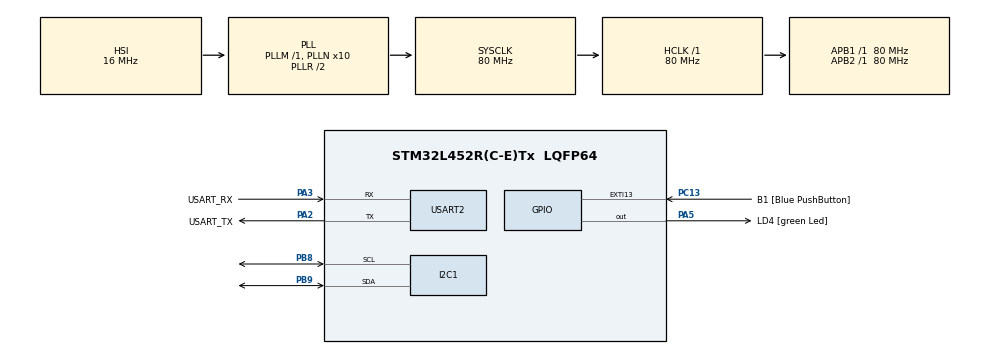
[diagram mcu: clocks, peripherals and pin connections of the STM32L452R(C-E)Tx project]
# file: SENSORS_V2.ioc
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Mcu.Family=STM32L4
Mcu.Name=STM32L452R(C-E)Tx
Mcu.Package=LQFP64
NVIC.PriorityGroup=NVIC_PRIORITYGROUP_4
PA13\ (JTMS/SWDIO).GPIO_Label=TMS
PA13\ (JTMS/SWDIO).Mode=Serial_Wire
PA13\ (JTMS/SWDIO).Signal=SYS_JTMS-SWDIO
PA14\ (JTCK/SWCLK).GPIO_Label=TCK
PA14\ (JTCK/SWCLK).Mode=Serial_Wire
PA14\ (JTCK/SWCLK).Signal=SYS_JTCK-SWCLK
PA2.GPIO_Label=USART_TX
PA2.GPIO_Mode=GPIO_MODE_AF_PP
PA2.GPIO_PuPd=GPIO_NOPULL
PA2.GPIO_Speed=GPIO_SPEED_FREQ_VERY_HIGH
PA2.Mode=Asynchronous
PA2.Signal=USART2_TX
PA3.GPIO_Label=USART_RX
PA3.GPIO_Mode=GPIO_MODE_AF_PP
PA3.GPIO_PuPd=GPIO_NOPULL
PA3.GPIO_Speed=GPIO_SPEED_FREQ_VERY_HIGH
PA3.Mode=Asynchronous
PA3.Signal=USART2_RX
PA5.GPIO_Label=LD4 [green Led]
PA5.GPIO_ModeDefaultOutputPP=GPIO_MODE_OUTPUT_PP
PA5.GPIO_PuPd=GPIO_NOPULL
PA5.GPIO_Speed=GPIO_SPEED_FREQ_LOW
PA5.Signal=GPIO_Output
PB3\ (JTDO/TRACESWO).GPIO_Label=SWO
PB3\ (JTDO/TRACESWO).Signal=SYS_JTDO-SWO
PB8.Mode=I2C
PB8.Signal=I2C1_SCL
PB9.Mode=I2C
PB9.Signal=I2C1_SDA
PC13.GPIO_Label=B1 [Blue PushButton]
PC13.GPIO_ModeDefaultEXTI=GPIO_MODE_IT_FALLING
PC13.GPIO_PuPd=GPIO_NOPULL
PC13.Signal=GPXTI13
PC14-OSC32_IN\ (PC14).Mode=LSE-External-Oscillator
PC14-OSC32_IN\ (PC14).Signal=RCC_OSC32_IN
PC15-OSC32_OUT\ (PC15).Mode=LSE-External-Oscillator
PC15-OSC32_OUT\ (PC15).Signal=RCC_OSC32_OUT
PH0-OSC_IN\ (PH0).Signal=RCC_OSC_IN
PH1-OSC_OUT\ (PH1).Signal=RCC_OSC_OUT
ProjectManager.HeapSize=0x200
ProjectManager.StackSize=0x400
ProjectManager.TargetToolchain=TrueSTUDIO
RCC.ADCFreq_Value=64000000
RCC.AHBFreq_Value=80000000
RCC.APB1Freq_Value=80000000
RCC.APB1TimFreq_Value=80000000
RCC.APB2Freq_Value=80000000
RCC.APB2TimFreq_Value=80000000
RCC.CortexFreq_Value=80000000
RCC.HCLKFreq_Value=80000000
RCC.HSE_VALUE=8000000
RCC.HSI48_VALUE=48000000
RCC.HSI_VALUE=16000000
RCC.MSI_VALUE=4000000
RCC.PLLN=10
RCC.PLLSourceVirtual=RCC_PLLSOURCE_HSI
RCC.PREFETCH_ENABLE=1
RCC.SYSCLKFreq_VALUE=80000000
RCC.SYSCLKSource=RCC_SYSCLKSOURCE_PLLCLK
RCC.USBFreq_Value=64000000
RCC.VCOOutputFreq_Value=160000000
USART2.VirtualMode-Asynchronous=VM_ASYNC
board=NUCLEO-L452RE

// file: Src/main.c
/**
  ******************************************************************************
  * @file           : main.c
  * @brief          : Main program body
  ******************************************************************************
  ** This notice applies to any and all portions of this file
  * that are not between comment pairs USER CODE BEGIN and
  * USER CODE END. Other portions of this file, whether
  * inserted by the user or by software development tools
  * are owned by their respective copyright owners.
  *
  * COPYRIGHT(c) 2019 STMicroelectronics
  *
  * Redistribution and use in source and binary forms, with or without modification,
  * are permitted provided that the following conditions are met:
  *   1. Redistributions of source code must retain the above copyright notice,
  *      this list of conditions and the following disclaimer.
  *   2. Redistributions in binary form must reproduce the above copyright notice,
  *      this list of conditions and the following disclaimer in the documentation
  *      and/or other materials provided with the distribution.
  *   3. Neither the name of STMicroelectronics nor the names of its contributors
  *      may be used to endorse or promote products derived from this software
  *      without specific prior written permission.
  *
  * THIS SOFTWARE IS PROVIDED BY THE COPYRIGHT HOLDERS AND CONTRIBUTORS "AS IS"
  * AND ANY EXPRESS OR IMPLIED WARRANTIES, INCLUDING, BUT NOT LIMITED TO, THE
  * IMPLIED WARRANTIES OF MERCHANTABILITY AND FITNESS FOR A PARTICULAR PURPOSE ARE
  * DISCLAIMED. IN NO EVENT SHALL THE COPYRIGHT HOLDER OR CONTRIBUTORS BE LIABLE
  * FOR ANY DIRECT, INDIRECT, INCIDENTAL, SPECIAL, EXEMPLARY, OR CONSEQUENTIAL
  * DAMAGES (INCLUDING, BUT NOT LIMITED TO, PROCUREMENT OF SUBSTITUTE GOODS OR
  * SERVICES; LOSS OF USE, DATA, OR PROFITS; OR BUSINESS INTERRUPTION) HOWEVER
  * CAUSED AND ON ANY THEORY OF LIABILITY, WHETHER IN CONTRACT, STRICT LIABILITY,
  * OR TORT (INCLUDING NEGLIGENCE OR OTHERWISE) ARISING IN ANY WAY OUT OF THE USE
  * OF THIS SOFTWARE, EVEN IF ADVISED OF THE POSSIBILITY OF SUCH DAMAGE.
  *
  ******************************************************************************
  */
#include "main.h"
#include "stm32l4xx_hal.h"
#include "i2c.h"
#include "usart.h"
#include "gpio.h"

/* USER CODE BEGIN PV */
/* Private variables ---------------------------------------------------------*/
/*----------------------------------------------------------------------------*///TEMP & HUM
//TEMPERATURE & HUMIDITY SENSOR

//Address of the Temperature & Humidity sensor (HTS221)
uint8_t addr_sensor[1]={0xBE};

/*----------------------------------------------------------------------------*///TEMPERATURE
//TEMPERATURE
//Calibration register 0
uint8_t addr_T0_degC_x8[1]={0x32};
//Value of T0_degC_x8 register
uint8_t T0_degC_x8[1]={0x00};
//Calibration register 1
uint8_t addr_T1_degC_x8[1]={0x33};
//Value of T1_degC_x8 register
uint8_t T1_degC_x8[1]={0x00};
//Register of MSB (most significant bit) of T1_degC and and T0_degC to compute them
uint8_t addr_MSB[1]={0x35};
//Reference to the MSB
uint8_t MSB[1]={0x00};
//Values of T0_degC_x8 and T1_degC_x8 in 16 bits
int16_t T0_degC_x8_u16[1]={0x00};;
int16_t T1_degC_x8_u16[1]={0x00};;
//T0_DegC = T0_degC_x8_u16/8
int16_t T0_DegC[1]={0x00};
//T1_DegC = T1_degC_x8_u16/8
int16_t T1_DegC[1]={0x00};

//T0_OUT registers : T0_OUT = T0_OUT_H followed by T0_OUT_L
uint8_t addr_T0_OUT_L[1]={0x3C};
uint8_t T0_OUT_L[1]={0x00};
uint8_t addr_T0_OUT_H[1]={0x3D};
uint8_t T0_OUT_H[1]={0x00};
int16_t T0_OUT[1]={0x00};
//T1_OUT registers : T1_OUT = T1_OUT_H followed by T1_OUT_L
uint8_t addr_T1_OUT_L[1]={0x3E};
uint8_t T1_OUT_L[1]={0x00};
uint8_t addr_T1_OUT_H[1]={0x3F};
uint8_t T1_OUT_H[1]={0x00};
int16_t T1_OUT[1]={0x00};
//T_OUT registers : T_OUT = T_OUT_H followed by T_OUT_L
uint8_t addr_T_OUT_L[1]={0x2A};
uint8_t T_OUT_L[1]={0x00};
uint8_t addr_T_OUT_H[1]={0x2B};
uint8_t T_OUT_H[1]={0x00};
int16_t T_OUT[1]={0x00};

//Buffer used to define the final value of the temperature
int32_t temp32;
//Final value of the temperature
int16_t temp_value;

/*----------------------------------------------------------------------------*///HUMIDITY
//HUMIDITY
//Registers for H0_rH_x2 and H1_rH_x2
uint8_t H0_rH_x2[1]={0x00};
uint8_t addr_H0_rH_x2[1]={0x30};
uint8_t H1_rH_x2[1]={0x00};
uint8_t addr_H1_rH_x2[1]={0x31};
//H0_rH = H0_rH_x2/2
int16_t H0_rH;
//H1_rH = H1_rH_x2/2
int16_t H1_rH;

//H0_T0_OUT registers : H0_T0_OUT = H0_T0_OUT_H followed by H0_T0_OUT_L
uint8_t H0_T0_OUT_L[1]={0x00};
uint8_t addr_H0_T0_OUT_L[1]={0x36};
uint8_t H0_T0_OUT_H[1]={0x00};
uint8_t addr_H0_T0_OUT_H[1]={0x37};
int16_t H0_T0_OUT;
//H1_T0_OUT registers : H1_T0_OUT = H1_T0_OUT_H followed by H1_T0_OUT_L
uint8_t H1_T0_OUT_L[1]={0x00};
uint8_t addr_H1_T0_OUT_L[1]={0x3A};
uint8_t H1_T0_OUT_H[1]={0x00};
uint8_t addr_H1_T0_OUT_H[1]={0x3B};
int16_t H1_T0_OUT;
//H_T0_OUT registers : H_T0_OUT = H_T0_OUT_H followed by H_T0_OUT_L
uint8_t H_T0_OUT_L[1]={0x00};
uint8_t addr_H_T0_OUT_L[1]={0x28};
uint8_t H_T0_OUT_H[1]={0x00};
uint8_t addr_H_T0_OUT_H[1]={0x29};
int16_t H_T0_OUT;

//Buffer used to define the final value of the humidity
int32_t hum;
//Final value of the humidity
int16_t value_hum;

/*----------------------------------------------------------------------------*///PRESSURE

//PRESSURE SENSOR
//Address of the pressure sensor (LPS22HB)
uint8_t addr_sensor_press[1]={0xBA};
//Registers where the value REF_P of the pressure measured is set
//Kind of offset used to give the value of the final pressure
//Used by default (a bit in CTRL_REG2 is normally set to 1)
uint8_t addr_REF_P_H[1]={0x17};
uint8_t REF_P_H[1]={0x00};
uint8_t addr_REF_P_L[1]={0x16};
uint8_t REF_P_L[1]={0x00};
uint8_t addr_REF_P_XL[1]={0x15};
uint8_t REF_P_XL[1]={0x00};
//FINAL value = REF_P = REP_P_H/REF_P_L/REF_P_XL in this order !!
int32_t REF_P;
//Registers where the value P_OUT of the pressure measured is set
//Kind of offset used to give the value of the final pressure
uint8_t addr_PRESS_OUT_H[1]={0x2A};
uint8_t P_OUT_H[1]={0x00};
uint8_t addr_PRESS_OUT_L[1]={0x29};
uint8_t P_OUT_L[1]={0x00};
uint8_t addr_PRESS_OUT_XL[1]={0x28};
uint8_t P_OUT_XL[1]={0x00};
//FINAL value = P_OUT = P_OUT_H/P_OUT_L/P_OUT_XL in this order !!
int32_t P_OUT;
//In default mode where REF_P is used, press32 = P_OUT + REF_P
int32_t press32;
//value_press_HPa = press_32/4096 (in HPa)
int16_t value_press_HPa;
//value_press_bar = value_press_Hpa/1000 (in bar)
float value_press_bar;
/* USER CODE END PV */

void SystemClock_Config(void);

/* USER CODE BEGIN PFP */
/* Private function prototypes -----------------------------------------------*/
void get_register(uint8_t addr_sensor[], uint8_t addr_register[], uint8_t data_register[]);
void get_temp(void);
void get_hum(void);
void get_press(void);
/* USER CODE END PFP */

int main(void)
{

  /* MCU Configuration----------------------------------------------------------*/

  /* Reset of all peripherals, Initializes the Flash interface and the Systick. */
  HAL_Init();

  /* Configure the system clock */
  SystemClock_Config();

  /* Initialize all configured peripherals */
  MX_GPIO_Init();
  MX_USART2_UART_Init();
  MX_I2C1_Init();

  /* Infinite loop */
  /* USER CODE BEGIN WHILE */
  while (1)
  {
	  get_temp();

	  get_hum();

	  get_press();
  /* USER CODE END WHILE */

  }

}

void SystemClock_Config(void)
{

  RCC_OscInitTypeDef RCC_OscInitStruct;
  RCC_ClkInitTypeDef RCC_ClkInitStruct;
  RCC_PeriphCLKInitTypeDef PeriphClkInit;

    /**Initializes the CPU, AHB and APB busses clocks
    */
  RCC_OscInitStruct.OscillatorType = RCC_OSCILLATORTYPE_HSI;
  RCC_OscInitStruct.HSIState = RCC_HSI_ON;
  RCC_OscInitStruct.HSICalibrationValue = 16;
  RCC_OscInitStruct.PLL.PLLState = RCC_PLL_ON;
  RCC_OscInitStruct.PLL.PLLSource = RCC_PLLSOURCE_HSI;
  RCC_OscInitStruct.PLL.PLLM = 1;
  RCC_OscInitStruct.PLL.PLLN = 10;
  RCC_OscInitStruct.PLL.PLLP = RCC_PLLP_DIV7;
  RCC_OscInitStruct.PLL.PLLQ = RCC_PLLQ_DIV2;
  RCC_OscInitStruct.PLL.PLLR = RCC_PLLR_DIV2;
  if (HAL_RCC_OscConfig(&RCC_OscInitStruct) != HAL_OK)
  {
    _Error_Handler(__FILE__, __LINE__);
  }

    /**Initializes the CPU, AHB and APB busses clocks
    */
  RCC_ClkInitStruct.ClockType = RCC_CLOCKTYPE_HCLK|RCC_CLOCKTYPE_SYSCLK
                              |RCC_CLOCKTYPE_PCLK1|RCC_CLOCKTYPE_PCLK2;
  RCC_ClkInitStruct.SYSCLKSource = RCC_SYSCLKSOURCE_PLLCLK;
  RCC_ClkInitStruct.AHBCLKDivider = RCC_SYSCLK_DIV1;
  RCC_ClkInitStruct.APB1CLKDivider = RCC_HCLK_DIV1;
  RCC_ClkInitStruct.APB2CLKDivider = RCC_HCLK_DIV1;

  if (HAL_RCC_ClockConfig(&RCC_ClkInitStruct, FLASH_LATENCY_4) != HAL_OK)
  {
    _Error_Handler(__FILE__, __LINE__);
  }

  PeriphClkInit.PeriphClockSelection = RCC_PERIPHCLK_USART2|RCC_PERIPHCLK_I2C1;
  PeriphClkInit.Usart2ClockSelection = RCC_USART2CLKSOURCE_PCLK1;
  PeriphClkInit.I2c1ClockSelection = RCC_I2C1CLKSOURCE_PCLK1;
  if (HAL_RCCEx_PeriphCLKConfig(&PeriphClkInit) != HAL_OK)
  {
    _Error_Handler(__FILE__, __LINE__);
  }

    /**Configure the main internal regulator output voltage
    */
  if (HAL_PWREx_ControlVoltageScaling(PWR_REGULATOR_VOLTAGE_SCALE1) != HAL_OK)
  {
    _Error_Handler(__FILE__, __LINE__);
  }

    /**Configure the Systick interrupt time
    */
  HAL_SYSTICK_Config(HAL_RCC_GetHCLKFreq()/1000);

    /**Configure the Systick
    */
  HAL_SYSTICK_CLKSourceConfig(SYSTICK_CLKSOURCE_HCLK);

  /* SysTick_IRQn interrupt configuration */
  HAL_NVIC_SetPriority(SysTick_IRQn, 0, 0);
}

/* USER CODE BEGIN 4 */
void get_register(uint8_t addr_sensor[], uint8_t addr_register[], uint8_t data_register[]){

	  while(HAL_I2C_Master_Transmit(&hi2c1, addr_sensor[0], addr_register, 1, HAL_TIMEOUT) != HAL_OK);
	  while(HAL_I2C_Master_Receive(&hi2c1, addr_sensor[0], data_register, 1, HAL_TIMEOUT) != HAL_OK);
	  HAL_Delay(100);
}

void get_temp(void){
	//Read register T0_degC_x8
	get_register(addr_sensor, addr_T0_degC_x8, T0_degC_x8);
	//Read register T1_degC_x8
	get_register(addr_sensor, addr_T1_degC_x8, T1_degC_x8);
	//Read register MSB
	get_register(addr_sensor, addr_MSB, MSB);
	//Convert T0_degC_x8 to 16-bit word => T0_degC_x8_u16
	//MSB put on front to conserve the sign of the temperature (0 = + / 1 = -)
	T0_degC_x8_u16[0] = (((uint16_t)(MSB[0] & 0x03)) << 8) + ((uint16_t)T0_degC_x8[0]);
	//Convert T1_degC_x8 to 16-bit word => T1_degC_x8_u16
	//MSB put on front to conserve the sign of the temperature (0 = + / 1 = -)
	T1_degC_x8_u16[0] = (((uint16_t)(MSB[0] & 0x0C)) << 6) + ((uint16_t)T1_degC_x8[0]);
	//T0_DegC = T0_degC_u16/8 (equivalent)
	T0_DegC[0] = T0_degC_x8_u16[0] >> 3;
	//T1_DegC = T1_degC_u16/8 (equivalent)
	T1_DegC[0] = T1_degC_x8_u16[0] >> 3;

	// Read register T0_OUT_L
	get_register(addr_sensor, addr_T0_OUT_L, T0_OUT_L);
	// Read register T0_OUT_H
	get_register(addr_sensor, addr_T0_OUT_H, T0_OUT_H);
	//Concatenation of 2 registers to get T0_OUT => T0_OUT = T0_OUT_H followed by T0_OUT_L
	T0_OUT[0] = (((uint16_t)T0_OUT_H[0])<<8) + (uint16_t)T0_OUT_L[0];

	//Read register T1_OUT_L
	get_register(addr_sensor, addr_T1_OUT_L, T1_OUT_L);
	//Read register T1_OUT_H
	get_register(addr_sensor, addr_T1_OUT_H, T1_OUT_H);
	//Concatenation of 2 registers to get T1_OUT => T1_OUT = T1_OUT_H followed by T1_OUT_L
	T1_OUT[0] = (((uint16_t)T1_OUT_H[0])<<8) + (uint16_t)T1_OUT_L[0];

	//Read register T_OUT_L
	get_register(addr_sensor, addr_T_OUT_L, T_OUT_L);
	//Read register T_OUT_H
	get_register(addr_sensor, addr_T_OUT_H, T_OUT_H);
	//Concatenation of 2 registers to get T_OUT => T_OUT = T_OUT_H followed by T_OUT_L
	T_OUT[0]=(((uint16_t)T_OUT_H[0])<<8) + (uint16_t)T_OUT_L[0];

	//Application of the expressions given in the datasheet
	temp32= (int32_t)(T1_DegC[0]-T0_DegC[0])*(T_OUT[0]-T0_OUT[0]);
	//Final TEMPERATURE
	temp_value = (int16_t)(temp32/(T1_OUT[0] - T0_OUT[0])) + T0_DegC[0];

}

/*----------------------------------------------------------------------------*///HUMIDITY
void get_hum(void){
	//Read register H0_rH_x2
	get_register(addr_sensor, addr_H0_rH_x2, H0_rH_x2);
	//Read register H1_rH_x2
	get_register(addr_sensor, addr_H1_rH_x2, H1_rH_x2);
	//H0_rH = H0_rH_x2/2 (equivalent)
	H0_rH= H0_rH_x2[0]>>2;
	//H1_rH = H1_rH_x2/2 (equivalent)
	H1_rH= H1_rH_x2[0]>>2;

	//Read register H0_T0_OUT_L
	get_register(addr_sensor, addr_H0_T0_OUT_L, H0_T0_OUT_L);
	//Read register H0_T0_OUT_H
	get_register(addr_sensor, addr_H0_T0_OUT_H, H0_T0_OUT_H);
	//H0_T0_OUT = H0_T0_OUT_H followed by H0_T0_OUT_L
	H0_T0_OUT = (H0_T0_OUT_H[0]<<8) + H0_T0_OUT_L[0];

	//Read register H1_T0_OUT_L
	get_register(addr_sensor, addr_H1_T0_OUT_L, H1_T0_OUT_L);
	//Read register H1_T0_OUT_H
	get_register(addr_sensor, addr_H1_T0_OUT_H, H1_T0_OUT_H);
	//H1_T0_OUT = H1_T0_OUT_H followed by H1_T0_OUT_L
	H1_T0_OUT = (H1_T0_OUT_H[0]<<8) + H1_T0_OUT_L[0];

	//Read register H_T0_OUT_L
	get_register(addr_sensor, addr_H_T0_OUT_L, H_T0_OUT_L);
	//Read register H_T0_OUT_H
	get_register(addr_sensor, addr_H_T0_OUT_H, H_T0_OUT_H);
	//H_T0_OUT = H_T0_OUT_H followed by H_T0_OUT_L
	H_T0_OUT = (H_T0_OUT_H[0]<<8) + H_T0_OUT_L[0];

	//Application of the expressions given in the datasheet
	hum = (H1_rH-H0_rH)*(H_T0_OUT-H0_T0_OUT);
	//Final HUMIDITY
	value_hum = (hum/(H1_T0_OUT-H0_T0_OUT))+H0_rH;

}

/*----------------------------------------------------------------------------*///PRESSURE
void get_press(void){
	//Get the value of the 3 registers where REF_P is set
	get_register(addr_sensor_press, addr_REF_P_H, REF_P_H);
	get_register(addr_sensor_press, addr_REF_P_L, REF_P_L);
	get_register(addr_sensor_press, addr_REF_P_XL, REF_P_XL);
	//Concatenation of the 3 registers to get the value of REF_P
	REF_P =  ( ((REF_P_H[0]+0x10)<<16) + (REF_P_L[0]<<8) + (REF_P_XL[0]) );

	//Get the value of the 3 registers where P_OUT is set
	get_register(addr_sensor_press, addr_PRESS_OUT_H, P_OUT_H);
	get_register(addr_sensor_press, addr_PRESS_OUT_L, P_OUT_L);
	get_register(addr_sensor_press, addr_PRESS_OUT_XL, P_OUT_XL);
	//Concatenation of the 3 registers to get the value of P_OUT
	P_OUT = ( ((P_OUT_H[0])<<16) + (P_OUT_L[0]<<8) + (P_OUT_XL[0]) );

	//IF problem with an OFFSET, verify if REF_P is correctly set in the shield and the default bit is set in CTRL_REG2
	press32 = P_OUT + REF_P;

	//Final PRESSURE in HPa
	value_press_HPa = press32/4096;
	//Final PRESSURE in bar
	value_press_bar = value_press_HPa/1000;

}
/* USER CODE END 4 */

void _Error_Handler(char *file, int line)
{
  while(1)
  {
  }
}

/************************ (C) COPYRIGHT STMicroelectronics *****END OF FILE****/
